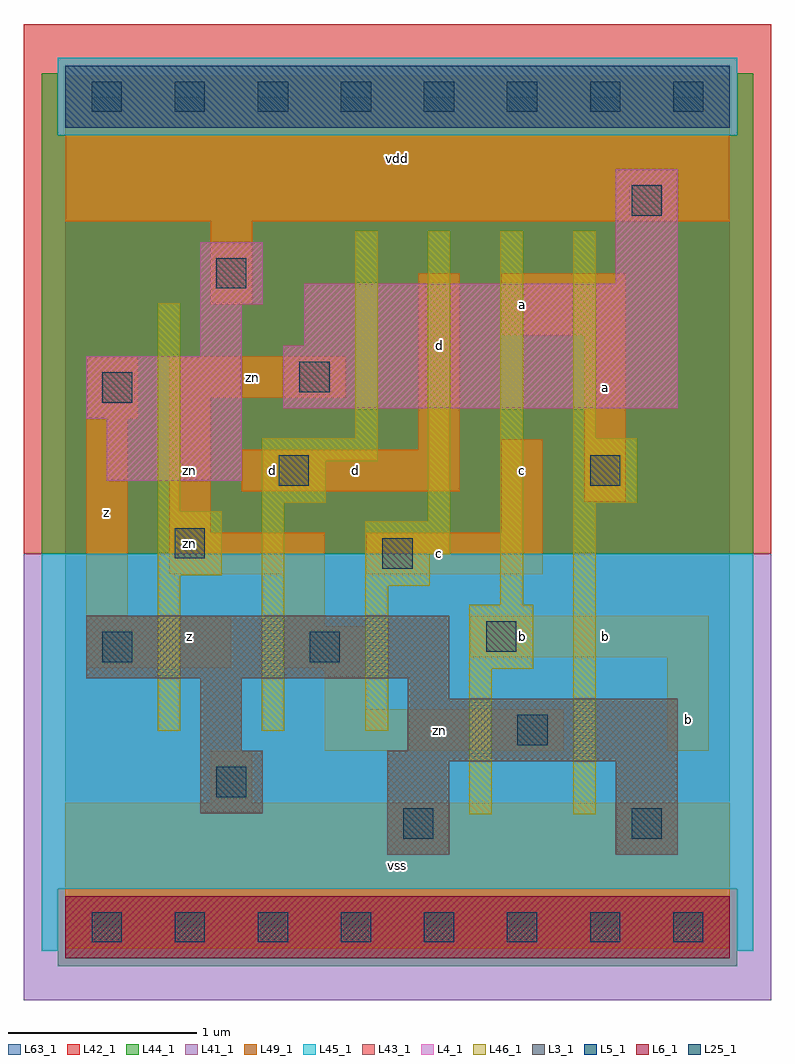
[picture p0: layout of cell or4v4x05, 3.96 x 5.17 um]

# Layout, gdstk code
import gdstk
lib = gdstk.Library(unit=1e-6, precision=1e-09)
def R(c, l, rs):  # rectangles x0, y0, x1, y1
    for r in rs: c.add(gdstk.rectangle(r[:2], r[2:], *l))
def A(c, l, x, y, w, h, nx, ny, dx, dy):  # array of equal rectangles
    R(c, l, [(x+i*dx, y+j*dy, x+i*dx+w, y+j*dy+h) for i in range(nx) for j in range(ny)])
L3_1 = (3, 1)
L4_1 = (4, 1)
L5_1 = (5, 1)
L6_1 = (6, 1)
L25_1 = (25, 1)
L41_1 = (41, 1)
L42_1 = (42, 1)
L43_1 = (43, 1)
L44_1 = (44, 1)
L45_1 = (45, 1)
L46_1 = (46, 1)
L49_1 = (49, 1)
L63_1 = (63, 1)

or4v4x05 = lib.new_cell('or4v4x05')
R(or4v4x05, L3_1, [(1.705,0.385,2.035,0.88), (2.915,0.385,3.245,0.88), (0.715,0.605,1.045,0.935), (1.705,0.88,3.245,0.935), (0.715,0.935,0.935,1.32), (1.815,0.935,3.245,1.21), (1.815,1.21,2.035,1.32), (0.11,1.32,2.035,1.65)])
R(or4v4x05, L4_1, [(0.22,2.365,0.935,2.695), (0.11,2.695,0.935,3.025), (1.155,2.75,3.245,3.08), (0.715,3.025,0.935,3.3), (1.265,3.08,3.245,3.41), (0.715,3.3,1.045,3.63), (2.915,3.41,3.245,4.015)])
R(or4v4x05, L5_1, [(0,4.235,3.52,4.565)])
R(or4v4x05, L6_1, [(0,-0.165,3.52,0.165)])
A(or4v4x05, L25_1, 0.14, -0.08, 0.16, 0.16, 8, 2, 0.44, 4.4)
R(or4v4x05, L25_1, [(1.79,0.47,1.95,0.63), (3,0.47,3.16,0.63), (0.8,0.69,0.96,0.85), (2.395,0.965,2.555,1.125), (0.195,1.405,0.355,1.565), (1.295,1.405,1.455,1.565), (2.23,1.46,2.39,1.62), (1.68,1.9,1.84,2.06), (0.58,1.955,0.74,2.115), (1.13,2.34,1.29,2.5), (2.78,2.34,2.94,2.5), (0.195,2.78,0.355,2.94), (1.24,2.835,1.4,2.995), (0.8,3.385,0.96,3.545), (3,3.77,3.16,3.93)])
R(or4v4x05, L41_1, [(-0.22,-0.385,3.74,1.98)])
R(or4v4x05, L42_1, [(-0.22,1.98,3.74,4.785)])
R(or4v4x05, L43_1, [(0,-0.165,3.52,0.165), (1.705,0.385,2.035,0.88), (2.915,0.385,3.245,0.88), (0.715,0.605,1.045,0.935), (1.705,0.88,3.245,0.935), (0.715,0.935,0.935,1.32), (1.815,0.935,3.245,1.21), (1.815,1.21,2.035,1.32), (0.11,1.32,2.035,1.65), (0.22,2.365,0.935,2.695), (0.11,2.695,0.935,3.025), (1.155,2.75,3.245,3.08), (0.715,3.025,0.935,3.3), (1.265,3.08,3.245,3.41), (0.715,3.3,1.045,3.63), (2.915,3.41,3.245,4.015), (0,4.235,3.52,4.565)])
R(or4v4x05, L44_1, [(-0.04,-0.205,3.56,0.205), (-0.125,1.98,3.645,4.195), (-0.125,4.195,-0.04,4.525), (3.56,4.195,3.645,4.525)])
R(or4v4x05, L45_1, [(-0.125,-0.125,-0.04,0.205), (3.56,-0.125,3.645,0.205), (-0.125,0.205,3.645,1.98), (-0.04,4.195,3.56,4.605)])
R(or4v4x05, L46_1, [(2.14,0.6,2.26,1.37), (2.69,0.6,2.81,2.25), (0.49,1.04,0.61,1.865), (1.04,1.04,1.16,2.25), (1.59,1.04,1.71,1.81), (2.14,1.37,2.48,1.71), (2.305,1.71,2.425,3.69), (1.59,1.81,1.93,1.975), (0.49,1.865,0.83,2.205), (1.59,1.975,2.04,2.15), (1.92,2.15,2.04,3.69), (0.49,2.205,0.61,3.305), (1.04,2.25,1.38,2.47), (2.69,2.25,3.03,2.59), (1.04,2.47,1.655,2.59), (1.535,2.59,1.655,3.69), (2.69,2.59,2.81,3.69)])
R(or4v4x05, L49_1, [(0,-0.11,3.52,0.66), (0.77,0.66,0.99,0.935), (1.375,0.935,2.64,1.155), (3.19,0.935,3.41,1.43), (1.375,1.155,1.595,1.375), (0.11,1.375,0.88,1.65), (1.155,1.375,1.595,1.595), (2.145,1.43,3.41,1.65), (1.155,1.595,1.375,1.87), (0.11,1.65,0.33,2.695), (0.55,1.87,1.375,2.09), (1.595,1.87,2.53,2.09), (0.55,2.09,0.77,2.805), (2.31,2.09,2.53,2.585), (2.75,2.255,2.97,3.135), (0.935,2.31,2.09,2.53), (1.87,2.53,2.09,3.465), (0.11,2.695,0.385,3.025), (0.55,2.805,1.485,3.025), (2.31,3.135,2.97,3.465), (0.77,3.3,0.99,3.74), (0,3.74,3.52,4.51)])
R(or4v4x05, L63_1, [(0,0,3.52,4.4)])
or4v4x05.add(gdstk.Label('zn', (0.66,2.035), layer=49, texttype=1))
or4v4x05.add(gdstk.Label('z', (0.22,2.2), layer=49, texttype=1))
or4v4x05.add(gdstk.Label('z', (0.66,1.54), layer=49, texttype=1))
or4v4x05.add(gdstk.Label('d', (1.1,2.42), layer=49, texttype=1))
or4v4x05.add(gdstk.Label('zn', (0.66,2.42), layer=49, texttype=1))
or4v4x05.add(gdstk.Label('vss', (1.76,0.33), layer=49, texttype=1))
or4v4x05.add(gdstk.Label('d', (1.54,2.42), layer=49, texttype=1))
or4v4x05.add(gdstk.Label('c', (1.98,1.98), layer=49, texttype=1))
or4v4x05.add(gdstk.Label('zn', (0.99,2.915), layer=49, texttype=1))
or4v4x05.add(gdstk.Label('d', (1.98,3.08), layer=49, texttype=1))
or4v4x05.add(gdstk.Label('vdd', (1.76,4.07), layer=49, texttype=1))
or4v4x05.add(gdstk.Label('zn', (1.98,1.045), layer=49, texttype=1))
or4v4x05.add(gdstk.Label('b', (2.42,1.54), layer=49, texttype=1))
or4v4x05.add(gdstk.Label('c', (2.42,2.42), layer=49, texttype=1))
or4v4x05.add(gdstk.Label('a', (2.42,3.3), layer=49, texttype=1))
or4v4x05.add(gdstk.Label('b', (2.86,1.54), layer=49, texttype=1))
or4v4x05.add(gdstk.Label('b', (3.3,1.1), layer=49, texttype=1))
or4v4x05.add(gdstk.Label('a', (2.86,2.86), layer=49, texttype=1))

lib.write_gds('or4v4x05.gds')
